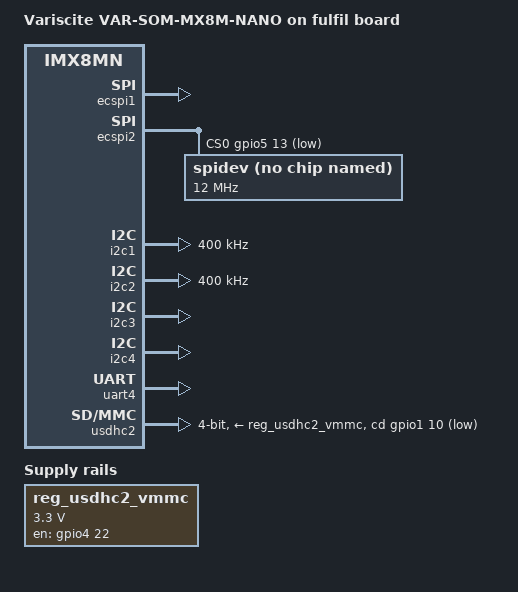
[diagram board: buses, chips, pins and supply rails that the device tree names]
/dts-v1/;

#include "imx8mn-var-som.dtsi"

/ {
	model = "Variscite VAR-SOM-MX8M-NANO on fulfil board";
	compatible = "variscite,var-som-mx8mn", "fsl,imx8mn";

	reg_usdhc2_vmmc: regulator-usdhc2 {
		compatible = "regulator-fixed";
		pinctrl-names = "default";
		pinctrl-0 = <&pinctrl_reg_usdhc2_vmmc>;
		regulator-name = "VSD_3V3";
		regulator-min-microvolt = <3300000>;
		regulator-max-microvolt = <3300000>;
		gpio = <&gpio4 22 GPIO_ACTIVE_HIGH>;
		off-on-delay = <20000>;
		enable-active-high;
	};
};

&iomuxc {
	pinctrl-0 = <&pinctrl_hog>;

	pinctrl_hog: hoggrp {
		fsl,pins = <
			MX8MN_IOMUXC_SAI2_TXFS_GPIO4_IO24 		0x114
			MX8MN_IOMUXC_SAI2_TXC_GPIO4_IO25		0x114
			MX8MN_IOMUXC_SAI3_RXC_GPIO4_IO29		0x114
			MX8MN_IOMUXC_SAI3_RXD_GPIO4_IO30		0x114
			MX8MN_IOMUXC_GPIO1_IO08_GPIO1_IO8		0x114
			MX8MN_IOMUXC_GPIO1_IO13_GPIO1_IO13		0x114
			MX8MN_IOMUXC_SAI2_RXD0_GPIO4_IO23		0x114
			MX8MN_IOMUXC_SAI2_TXD0_GPIO4_IO26		0x114
			MX8MN_IOMUXC_SAI3_TXFS_GPIO4_IO31		0x114
		>;
	};
	pinctrl_uart1: uart1grp {
		fsl,pins = <
			MX8MN_IOMUXC_UART1_RXD_UART1_DCE_RX		0x140
			MX8MN_IOMUXC_UART1_TXD_UART1_DCE_TX		0x140
		>;
	};

	pinctrl_uart3: uart3grp {
		fsl,pins = <
			MX8MN_IOMUXC_UART3_RXD_UART3_DCE_RX		0x140
			MX8MN_IOMUXC_UART3_TXD_UART3_DCE_TX		0x140
		>;
	};

	pinctrl_uart4: uart4grp {
		fsl,pins = <
			MX8MN_IOMUXC_UART4_RXD_UART4_DCE_RX		0x140
			MX8MN_IOMUXC_UART4_TXD_UART4_DCE_TX		0x140
		>;
	};

	pinctrl_usdhc2: usdhc2grp {
		fsl,pins = <
			MX8MN_IOMUXC_SD2_CLK_USDHC2_CLK			0x190
			MX8MN_IOMUXC_SD2_CMD_USDHC2_CMD			0x1d0
			MX8MN_IOMUXC_SD2_DATA0_USDHC2_DATA0		0x1d0
			MX8MN_IOMUXC_SD2_DATA1_USDHC2_DATA1		0x1d0
			MX8MN_IOMUXC_SD2_DATA2_USDHC2_DATA2		0x1d0
			MX8MN_IOMUXC_SD2_DATA3_USDHC2_DATA3		0x1d0
			MX8MN_IOMUXC_GPIO1_IO04_USDHC2_VSELECT		0x1d0
		>;
	};

	pinctrl_usdhc2_100mhz: usdhc2grp100mhz {
		fsl,pins = <
			MX8MN_IOMUXC_SD2_CLK_USDHC2_CLK			0x194
			MX8MN_IOMUXC_SD2_CMD_USDHC2_CMD			0x1d4
			MX8MN_IOMUXC_SD2_DATA0_USDHC2_DATA0		0x1d4
			MX8MN_IOMUXC_SD2_DATA1_USDHC2_DATA1		0x1d4
			MX8MN_IOMUXC_SD2_DATA2_USDHC2_DATA2		0x1d4
			MX8MN_IOMUXC_SD2_DATA3_USDHC2_DATA3		0x1d4
			MX8MN_IOMUXC_GPIO1_IO04_USDHC2_VSELECT		0x1d0
		>;
	};

	pinctrl_usdhc2_200mhz: usdhc2grp200mhz {
		fsl,pins = <
			MX8MN_IOMUXC_SD2_CLK_USDHC2_CLK			0x196
			MX8MN_IOMUXC_SD2_CMD_USDHC2_CMD			0x1d6
			MX8MN_IOMUXC_SD2_DATA0_USDHC2_DATA0		0x1d6
			MX8MN_IOMUXC_SD2_DATA1_USDHC2_DATA1		0x1d6
			MX8MN_IOMUXC_SD2_DATA2_USDHC2_DATA2		0x1d6
			MX8MN_IOMUXC_SD2_DATA3_USDHC2_DATA3		0x1d6
			MX8MN_IOMUXC_GPIO1_IO04_USDHC2_VSELECT		0x1d0
		>;
	};

	pinctrl_usdhc2_gpio: usdhc2grpgpio {
		fsl,pins = <
			MX8MN_IOMUXC_GPIO1_IO10_GPIO1_IO10		0x41
		>;
	};

	pinctrl_usdhc2: usdhc2grp {
		fsl,pins = <
			MX8MN_IOMUXC_SD2_CLK_USDHC2_CLK			0x190
			MX8MN_IOMUXC_SD2_CMD_USDHC2_CMD			0x1d0
			MX8MN_IOMUXC_SD2_DATA0_USDHC2_DATA0		0x1d0
			MX8MN_IOMUXC_SD2_DATA1_USDHC2_DATA1		0x1d0
			MX8MN_IOMUXC_SD2_DATA2_USDHC2_DATA2		0x1d0
			MX8MN_IOMUXC_SD2_DATA3_USDHC2_DATA3		0x1d0
			MX8MN_IOMUXC_GPIO1_IO04_USDHC2_VSELECT		0x1d0
		>;
	};

	pinctrl_reg_usdhc2_vmmc: regusdhc2vmmc {
		fsl,pins = <
			MX8MN_IOMUXC_SAI2_RXC_GPIO4_IO22		0x41
		>;
	};

	pinctrl_ecspi2_j17: ecspi2grp_j17 {
        fsl,pins = <
            MX8MN_IOMUXC_ECSPI2_SCLK_ECSPI2_SCLK    0x13    /* J17.6 */
            MX8MN_IOMUXC_ECSPI2_MOSI_ECSPI2_MOSI    0x13    /* J17.4 */
            MX8MN_IOMUXC_ECSPI2_MISO_ECSPI2_MISO    0x13    /* J17.8 */
            MX8MN_IOMUXC_ECSPI2_SS0_ECSPI2_SS0      0x13    /* J17.10 */
        >;
    };

	pinctrl_csi1: csi1grp {
		fsl,pins = <
			MX8MN_IOMUXC_GPIO1_IO13_GPIO1_IO13		0x19
			/*MX8MN_IOMUXC_ECSPI2_MISO_GPIO5_IO12		0x19*/
		>;
	};
};


&ecspi1 {
	status = "okay";
    /*/delete-property/ dmas;
    /delete-property/ dma-names;*/
};

&ecspi2 {
    pinctrl-names = "default";
    pinctrl-0 = <&pinctrl_ecspi2_j17>;
    cs-gpios =  <&gpio5 13 GPIO_ACTIVE_LOW>;
    status = "okay";
    /* Test SPI device */
    spidev@0 {
        reg = <0>;
        compatible = "var,spidev";
        spi-max-frequency = <12000000>;
        status = "okay";
    };
};

&ov5640_mipi1 {
	// DISABLED to avoid conflict because pinctrl_ecspi2_j17 reports ECSPI2_MISO which is in use by pinctrl_csi1
	status = "disabled";
};

&mipi_csi_1 {
	// DISABLED to avoid conflict because pinctrl_ecspi2_j17 reports ECSPI2_MISO which is in use by pinctrl_csi1
	status = "disabled";
};

&i2c1 {
	clock-frequency = <400000>;
	status = "okay";
};

&i2c2 {
	clock-frequency = <400000>;
	status = "okay";
};

&i2c3 {
	status = "okay";

	/* DS1337 RTC module */
	rtc@68 {
		status = "disabled";
		compatible = "dallas,ds1337";
		reg = <0x68>;
	};
};

&i2c4 {
	status = "okay";
};

&sdma1{
	status = "okay";
};

/* Bluetooth */
&uart2 {
	status = "disabled";
};

/* Console */
&uart4 {
	pinctrl-names = "default";
	pinctrl-0 = <&pinctrl_uart4>;
	status = "okay";
	/delete-property/ dmas;
	/delete-property/ dma-names;
};

/* SD */
&usdhc2 {
	pinctrl-names = "default", "state_100mhz", "state_200mhz";
	pinctrl-0 = <&pinctrl_usdhc2>, <&pinctrl_usdhc2_gpio>;
	pinctrl-1 = <&pinctrl_usdhc2_100mhz>, <&pinctrl_usdhc2_gpio>;
	pinctrl-2 = <&pinctrl_usdhc2_200mhz>, <&pinctrl_usdhc2_gpio>;
	cd-gpios = <&gpio1 10 GPIO_ACTIVE_LOW>;
	bus-width = <4>;
	vmmc-supply = <&reg_usdhc2_vmmc>;
	status = "okay";
};
